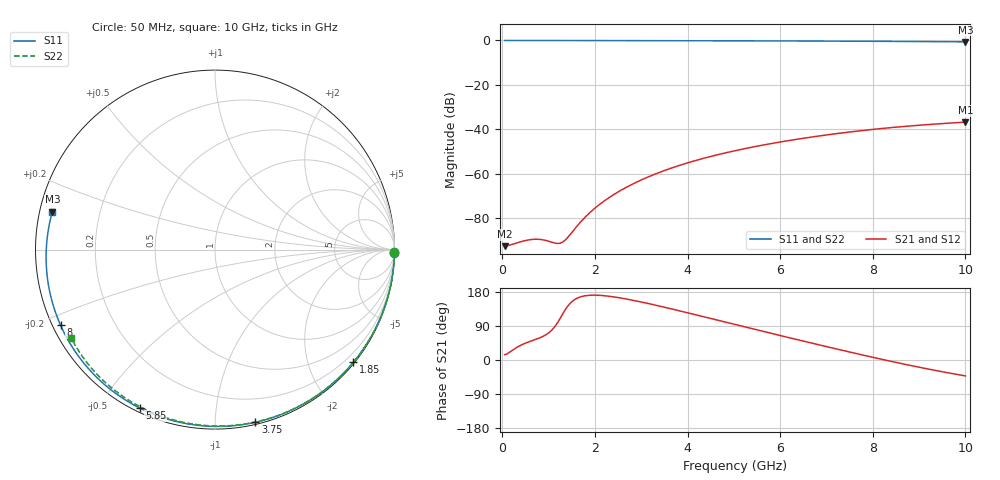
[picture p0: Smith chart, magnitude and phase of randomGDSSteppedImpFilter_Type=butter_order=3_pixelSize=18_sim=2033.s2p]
! freq	dB(S11)	phase(S11)	dB(S12)	phase(S12)
!  dB(S21)	phase(S21)	dB(S22)	phase(S22)
!S-par simulation data
#  GHz  S  DB  R 50
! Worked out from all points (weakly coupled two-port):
!   200 points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, 50 MHz to 10 GHz, reference 50 ohm
!   highest |S21| = -36.71 dB at 10 GHz (marker M1); lowest = -92.5 dB at 50 MHz (marker M2)
!   lowest |S11| = -0.6 dB at 10 GHz (marker M3), VSWR 27.72, Z = 1.83 + j5.72 ohm
!   |S11| at or under -10 dB: nowhere
!   |S22| runs from -0.5 to 0.0 dB; largest |S21 - S12| = 0
!   S11 on the Smith chart (normalised r, x): 50 MHz: open; 1.85 GHz: 0.03, -2.81; 3.75 GHz: 0.02, -1.26; 5.85 GHz: 0.02, -0.63; 8 GHz: 0.02, -0.23; 10 GHz: 0.04, +0.11
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0.05  -0.00 -1.1  -92.48 14.0  -92.48 14.0  -0.00 -0.8
0.45  -0.01 -9.7  -90.20 41.9  -90.20 41.9  -0.00 -7.5
0.85  -0.02 -18.2  -89.54 60.7  -89.54 60.7  -0.01 -14.1
1.3  -0.03 -27.7  -90.69 120.7  -90.69 120.7  -0.03 -21.5
1.75  -0.05 -37.1  -80.29 168.6  -80.29 168.6  -0.04 -28.7
1.85  -0.05 -39.1  -78.20 170.5  -78.20 170.5  -0.04 -30.4
2.15  -0.06 -45.3  -72.93 170.2  -72.93 170.2  -0.04 -35.1
2.5  -0.07 -52.4  -68.10 164.8  -68.10 164.8  -0.05 -40.7
2.9  -0.08 -60.3  -63.69 155.6  -63.69 155.6  -0.06 -47.0
3.4  -0.09 -70.1  -59.26 142.2  -59.26 142.2  -0.07 -54.7
3.75  -0.10 -76.9  -56.68 132.0  -56.68 132.0  -0.08 -60.0
4.4  -0.13 -89.1  -52.69 112.6  -52.69 112.6  -0.10 -69.6
5.05  -0.16 -101.1  -49.45 93.0  -49.45 93.0  -0.12 -79.1
5.85  -0.20 -115.5  -46.19 69.0  -46.19 69.0  -0.15 -90.4
6.7  -0.26 -130.6  -43.35 44.0  -43.35 44.0  -0.20 -102.1
7.35  -0.31 -142.2  -41.53 25.3  -41.53 25.3  -0.24 -110.9
8  -0.37 -153.9  -39.99 7.1  -39.99 7.1  -0.29 -119.6
8.35  -0.41 -160.4  -39.27 -2.3  -39.27 -2.3  -0.32 -124.4
8.8  -0.46 -168.9  -38.44 -14.1  -38.44 -14.1  -0.36 -130.6
9.2  -0.51 -176.7  -37.80 -23.9  -37.80 -23.9  -0.41 -136.2
9.6  -0.57 175.3  -37.23 -33.2  -37.23 -33.2  -0.47 -142.1
10  -0.63 166.9  -36.71 -41.9  -36.71 -41.9  -0.54 -148.4
